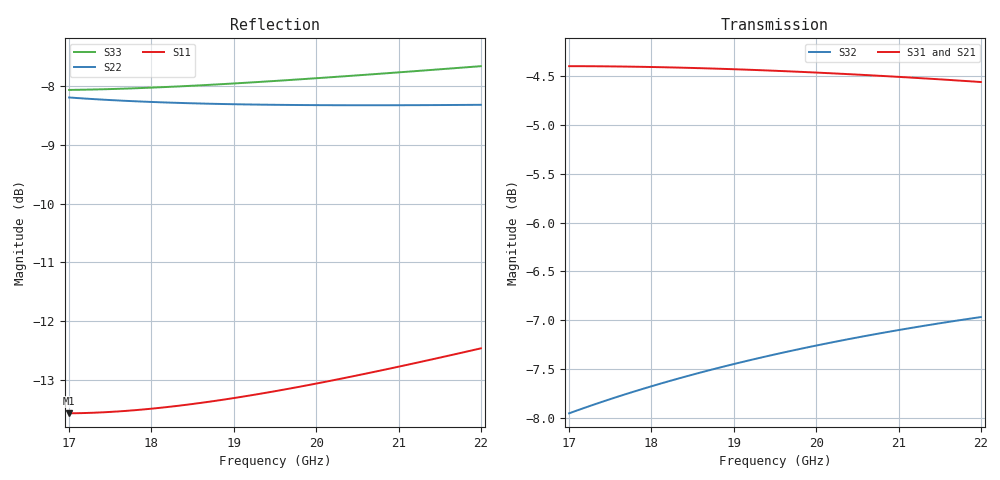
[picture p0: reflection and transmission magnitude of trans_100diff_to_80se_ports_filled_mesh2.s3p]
#  GHZ S DB R 50.0
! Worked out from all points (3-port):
!   51 points, 17 GHz to 22 GHz, reference 50 ohm
!   strongest paths, dB at 17 GHz, 18.2 GHz, 19.5 GHz, 20.8 GHz, 22 GHz:
!     S31: -4.4, -4.4, -4.4, -4.5, -4.6
!     S21: -4.6, -4.5, -4.5, -4.5, -4.5
!     S32: -8.0, -7.6, -7.3, -7.1, -7.0
!   lowest |S11| = -13.6 dB at 17 GHz (marker M1), VSWR 1.53, Z = 75 + j8.09 ohm
!   |S11| at or under -10 dB: start of sweep to end of sweep
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17  -13.57 14.2  -4.57 -173.7  -4.40 6.0
    -4.57 -173.7  -8.19 95.1  -7.95 72.9
    -4.40 6.0  -7.95 72.9  -8.06 92.1
17.3  -13.56 10.4  -4.55 -175.9  -4.40 4.0
      -4.55 -175.9  -8.22 92.2  -7.86 70.8
      -4.40 4.0  -7.86 70.8  -8.05 89.3
17.6  -13.54 6.6  -4.54 -178.0  -4.40 1.9
      -4.54 -178.0  -8.24 89.4  -7.78 68.9
      -4.40 1.9  -7.78 68.9  -8.04 86.5
18.2  -13.46 -0.5  -4.52 177.9  -4.41 -2.0
      -4.52 177.9  -8.28 84.1  -7.63 65.1
      -4.41 -2.0  -7.63 65.1  -8.01 81.4
18.8  -13.36 -7.1  -4.51 173.9  -4.42 -5.8
      -4.51 173.9  -8.30 79.2  -7.49 61.4
      -4.42 -5.8  -7.49 61.4  -7.97 76.6
19.5  -13.20 -14.3  -4.50 169.4  -4.44 -10.0
      -4.50 169.4  -8.32 73.9  -7.35 57.4
      -4.44 -10.0  -7.35 57.4  -7.91 71.5
20.1  -13.04 -20.1  -4.50 165.6  -4.47 -13.6
      -4.50 165.6  -8.32 69.7  -7.24 54.1
      -4.47 -13.6  -7.24 54.1  -7.85 67.4
20.7  -12.87 -25.5  -4.50 162.0  -4.49 -17.0
      -4.50 162.0  -8.32 65.8  -7.14 50.9
      -4.49 -17.0  -7.14 50.9  -7.79 63.6
21.3  -12.69 -30.5  -4.50 158.4  -4.52 -20.3
      -4.50 158.4  -8.32 62.2  -7.06 47.9
      -4.52 -20.3  -7.06 47.9  -7.73 60.1
22  -12.47 -36.1  -4.50 154.4  -4.56 -24.2
    -4.50 154.4  -8.32 58.3  -6.97 44.5
    -4.56 -24.2  -6.97 44.5  -7.66 56.3
